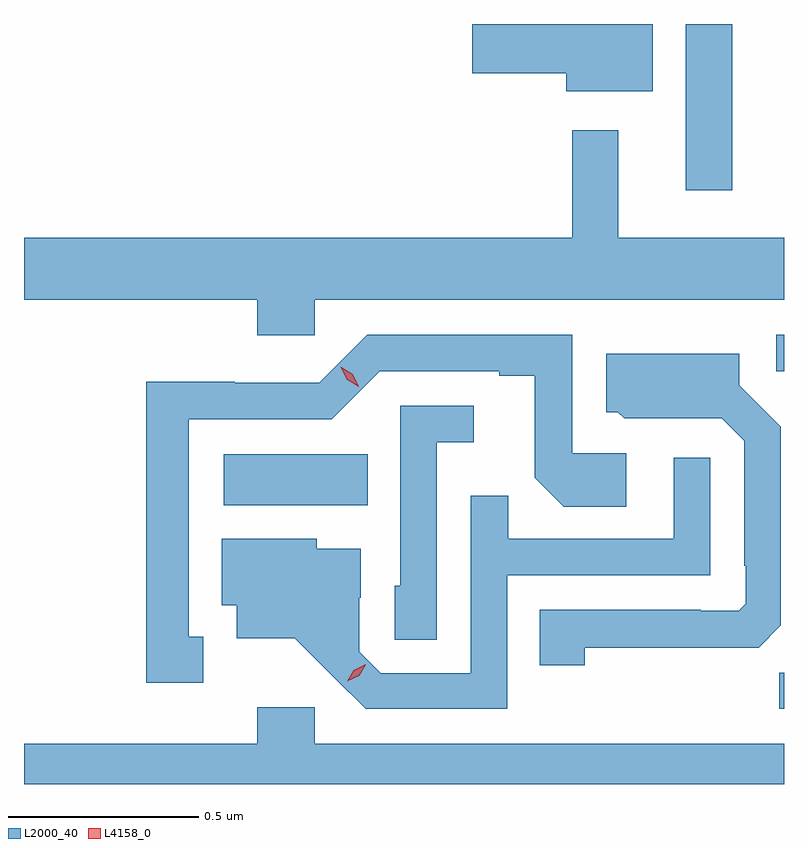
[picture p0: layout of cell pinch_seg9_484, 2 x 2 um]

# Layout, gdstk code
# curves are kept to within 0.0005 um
import gdstk
lib = gdstk.Library(unit=1e-6, precision=1e-09)
def R(c, l, rs):  # rectangles x0, y0, x1, y1
    for r in rs: c.add(gdstk.rectangle(r[:2], r[2:], *l))
def P(c, l, *ps):  # polygons
    for p in ps: c.add(gdstk.Polygon(p, *l))
L2000_40 = (2000, 40)
L4158_0 = (4158, 0)

pinch_seg9_484 = lib.new_cell('pinch_seg9_484')
R(pinch_seg9_484, L2000_40, [(264.268,1191.348,264.281,1191.443), (262.806,1191.884,263.186,1192.018), (264.261,1192.236,264.281,1192.332), (264.023,1192.713,264.145,1193.15)])
P(pinch_seg9_484, L2000_40, [(263.935,1193.15),(263.708,1193.15),(263.708,1193.149),(263.46,1193.149),(263.46,1193.02),(263.708,1193.02),(263.708,1192.973),(263.935,1192.973)],
  [(263.046,1192.424),(264.281,1192.424),(264.281,1192.588),(263.845,1192.588),(263.845,1192.87),(263.724,1192.87),(263.724,1192.588),(262.281,1192.588),(262.281,1192.424),(262.895,1192.424),(262.895,1192.331),(263.046,1192.331)],
  [(262.753,1191.537),(262.714,1191.537),(262.714,1192.11),(263.091,1192.11),(263.217,1192.236),(263.531,1192.236),(263.531,1192.224),(263.625,1192.224),(263.625,1191.956),(263.701,1191.88),(263.866,1191.88),(263.866,1192.02),(263.724,1192.02),(263.724,1192.332),(263.184,1192.332),(263.058,1192.206),(262.836,1192.206),(262.836,1192.208),(262.603,1192.208),(262.603,1191.417),(262.753,1191.417)],
  [(263.757,1191.508),(264.113,1191.508),(264.113,1191.509),(264.214,1191.509),(264.273,1191.568),(264.273,1192.09),(264.163,1192.2),(264.163,1192.282),(263.813,1192.282),(263.813,1192.128),(263.844,1192.128),(263.86,1192.112),(263.994,1192.112),(263.994,1192.113),(264.117,1192.113),(264.177,1192.053),(264.177,1191.724),(264.18,1191.724),(264.18,1191.624),(264.162,1191.606),(264.062,1191.606),(264.062,1191.609),(263.638,1191.609),(263.638,1191.462),(263.757,1191.462)],
  [(263.367,1192.049),(263.464,1192.049),(263.464,1192.146),(263.271,1192.146),(263.271,1191.672),(263.256,1191.672),(263.256,1191.529),(263.367,1191.529)],
  [(263.553,1191.699),(264.087,1191.699),(264.087,1192.009),(263.991,1192.009),(263.991,1191.795),(263.555,1191.795),(263.555,1191.908),(263.457,1191.908),(263.457,1191.441),(263.22,1191.441),(263.163,1191.498),(263.163,1191.64),(263.167,1191.64),(263.167,1191.769),(263.052,1191.769),(263.052,1191.796),(262.802,1191.796),(262.802,1191.62),(262.841,1191.62),(262.841,1191.533),(262.993,1191.533),(263.18,1191.348),(263.553,1191.348)],
  [(264.281,1191.256),(263.046,1191.256),(263.046,1191.352),(262.895,1191.352),(262.895,1191.256),(262.281,1191.256),(262.281,1191.15),(264.281,1191.15)])
P(pinch_seg9_484, L4158_0, [(263.131,1191.42),(263.131,1191.42),(263.149,1191.449),(263.18,1191.465),(263.18,1191.465),(263.18,1191.464),(263.163,1191.435),(263.132,1191.42)],
  [(263.162,1192.195),(263.131,1192.214),(263.114,1192.247),(263.114,1192.248),(263.114,1192.248),(263.146,1192.228),(263.162,1192.195),(263.162,1192.195)])

lib.write_gds('pinch_seg9_484.gds')
